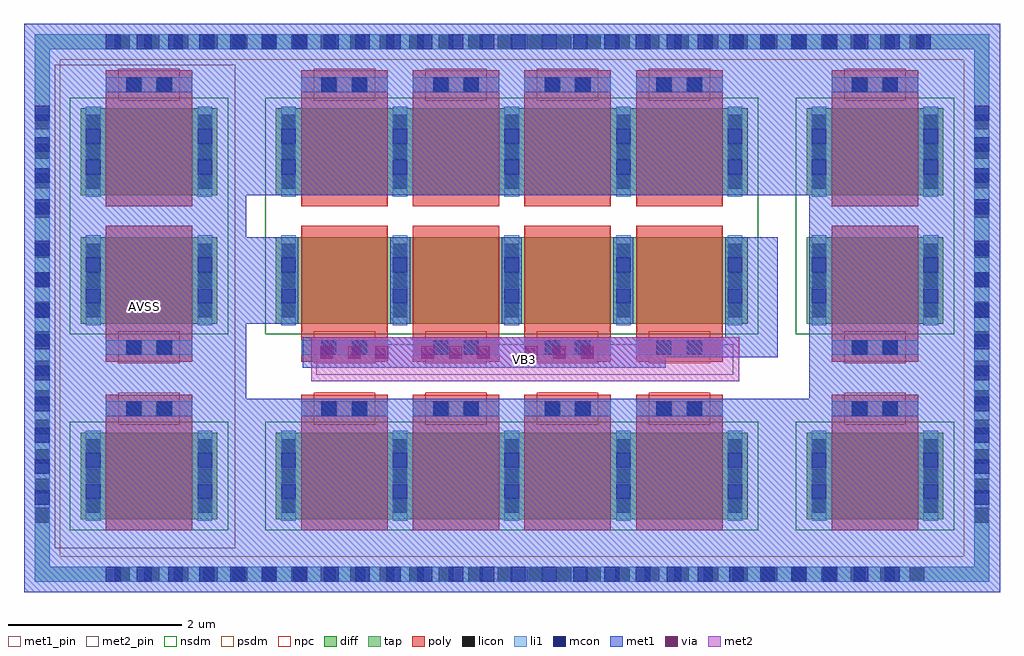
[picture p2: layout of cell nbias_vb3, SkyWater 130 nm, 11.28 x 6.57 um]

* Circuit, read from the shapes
.subckt nbias_vb3 AVSS VB3
XM1 AVSS AVSS AVSS AVSS sky130_fd_pr__nfet_01v8 w=1 l=1 m=14
XM2 n1 VB3 AVSS AVSS sky130_fd_pr__nfet_01v8 w=1 l=1
XM3 n2 VB3 n1 AVSS sky130_fd_pr__nfet_01v8 w=1 l=1
XM4 n3 VB3 n2 AVSS sky130_fd_pr__nfet_01v8 w=1 l=1
XM5 VB3 VB3 n3 AVSS sky130_fd_pr__nfet_01v8 w=1 l=1
.ends

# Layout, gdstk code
import gdstk
lib = gdstk.Library(unit=1e-6, precision=1e-09)
def R(c, l, rs):  # rectangles x0, y0, x1, y1
    for r in rs: c.add(gdstk.rectangle(r[:2], r[2:], *l))
def A(c, l, x, y, w, h, nx, ny, dx, dy):  # array of equal rectangles
    R(c, l, [(x+i*dx, y+j*dy, x+i*dx+w, y+j*dy+h) for i in range(nx) for j in range(ny)])
diff = (65, 20)
tap = (65, 44)
poly = (66, 20)
licon = (66, 44)
li1 = (67, 20)
mcon = (67, 44)
met1_pin = (68, 16)
met1 = (68, 20)
via = (68, 44)
met2_pin = (69, 16)
met2 = (69, 20)
nsdm = (93, 44)
psdm = (94, 20)
npc = (95, 20)

nbias_vb3 = lib.new_cell('nbias_vb3')
R(nbias_vb3, diff, [(5.9,-2.92,7.48,-1.92), (8.155,-2.92,13.605,-1.92), (14.285,-2.92,15.865,-1.92), (5.9,-0.66,7.48,0.34), (8.155,-0.66,13.605,0.34), (14.285,-0.66,15.865,0.34), (5.9,0.825,7.48,1.825), (8.155,0.825,13.605,1.825), (14.285,0.825,15.865,1.825)])
R(nbias_vb3, tap, [(5.37,-3.64,16.395,-3.47), (5.37,-3.47,5.54,2.51), (16.225,-3.47,16.395,2.51), (5.37,2.51,16.395,2.68)])
A(nbias_vb3, poly, 8.445, -3.05, 1, 1.57, 4, 2, 1.29, 1.95)
A(nbias_vb3, poly, 8.445, 0.695, 1, 1.57, 4, 1, 1.29, 0)
R(nbias_vb3, poly, [(6.19,-3.05,7.19,-1.48), (14.575,-3.05,15.575,-1.48), (6.19,-1.1,7.19,0.47), (14.575,-1.1,15.575,0.47), (6.19,0.695,7.19,2.265), (14.575,0.695,15.575,2.265)])
A(nbias_vb3, licon, 6.295, -3.64, 0.17, 0.17, 28, 2, 0.34, 6.15)
A(nbias_vb3, licon, 5.37, -2.96, 0.17, 0.17, 1, 10, 0, 0.34)
A(nbias_vb3, licon, 16.225, -2.96, 0.17, 0.17, 1, 10, 0, 0.34)
A(nbias_vb3, licon, 5.96, -2.845, 0.17, 0.17, 1, 3, 0, 0.34)
A(nbias_vb3, licon, 7.25, -2.845, 0.17, 0.17, 1, 3, 0, 0.34)
A(nbias_vb3, licon, 8.215, -2.845, 0.17, 0.17, 5, 3, 1.29, 0.34)
A(nbias_vb3, licon, 14.345, -2.845, 0.17, 0.17, 1, 3, 0, 0.34)
A(nbias_vb3, licon, 15.635, -2.845, 0.17, 0.17, 1, 3, 0, 0.34)
A(nbias_vb3, licon, 5.96, -0.585, 0.17, 0.17, 1, 3, 0, 0.34)
A(nbias_vb3, licon, 7.25, -0.585, 0.17, 0.17, 1, 3, 0, 0.34)
A(nbias_vb3, licon, 8.215, -0.585, 0.17, 0.17, 5, 3, 1.29, 0.34)
A(nbias_vb3, licon, 14.345, -0.585, 0.17, 0.17, 1, 3, 0, 0.34)
A(nbias_vb3, licon, 15.635, -0.585, 0.17, 0.17, 1, 3, 0, 0.34)
A(nbias_vb3, licon, 5.37, 0.565, 0.17, 0.17, 1, 4, 0, 0.34)
A(nbias_vb3, licon, 16.225, 0.565, 0.17, 0.17, 1, 4, 0, 0.34)
A(nbias_vb3, licon, 5.96, 0.9, 0.17, 0.17, 1, 3, 0, 0.34)
A(nbias_vb3, licon, 7.25, 0.9, 0.17, 0.17, 1, 3, 0, 0.34)
A(nbias_vb3, licon, 8.215, 0.9, 0.17, 0.17, 5, 3, 1.29, 0.34)
A(nbias_vb3, licon, 14.345, 0.9, 0.17, 0.17, 1, 3, 0, 0.34)
A(nbias_vb3, licon, 15.635, 0.9, 0.17, 0.17, 1, 3, 0, 0.34)
R(nbias_vb3, licon, [(6.435,-1.73,6.605,-1.56), (6.775,-1.73,6.945,-1.56), (8.69,-1.73,8.86,-1.56), (9.03,-1.73,9.2,-1.56), (9.98,-1.73,10.15,-1.56), (10.32,-1.73,10.49,-1.56), (11.27,-1.73,11.44,-1.56), (11.61,-1.73,11.78,-1.56), (12.56,-1.73,12.73,-1.56), (12.9,-1.73,13.07,-1.56), (14.82,-1.73,14.99,-1.56), (15.16,-1.73,15.33,-1.56), (6.435,-1.02,6.605,-0.85), (6.775,-1.02,6.945,-0.85), (8.69,-1.02,8.86,-0.85), (9.03,-1.02,9.2,-0.85), (9.98,-1.02,10.15,-0.85), (10.32,-1.02,10.49,-0.85), (11.27,-1.02,11.44,-0.85), (11.61,-1.02,11.78,-0.85), (12.56,-1.02,12.73,-0.85), (12.9,-1.02,13.07,-0.85), (14.82,-1.02,14.99,-0.85), (15.16,-1.02,15.33,-0.85), (6.435,2.015,6.605,2.185), (6.775,2.015,6.945,2.185), (8.69,2.015,8.86,2.185), (9.03,2.015,9.2,2.185), (9.98,2.015,10.15,2.185), (10.32,2.015,10.49,2.185), (11.27,2.015,11.44,2.185), (11.61,2.015,11.78,2.185), (12.56,2.015,12.73,2.185), (12.9,2.015,13.07,2.185), (14.82,2.015,14.99,2.185), (15.16,2.015,15.33,2.185)])
A(nbias_vb3, li1, 8.215, -2.94, 0.17, 1.04, 5, 2, 1.29, 2.26)
A(nbias_vb3, li1, 8.445, -1.73, 1, 0.17, 4, 2, 1.29, 0.71)
A(nbias_vb3, li1, 8.215, 0.805, 0.17, 1.04, 5, 1, 1.29, 0)
A(nbias_vb3, li1, 8.445, 2.015, 1, 0.17, 4, 1, 1.29, 0)
R(nbias_vb3, li1, [(5.37,-3.64,16.395,-3.47), (5.37,-3.47,5.54,2.51), (16.225,-3.47,16.395,2.51), (5.96,-2.94,6.13,-1.9), (7.25,-2.94,7.42,-1.9), (14.345,-2.94,14.515,-1.9), (15.635,-2.94,15.805,-1.9), (6.19,-1.73,7.19,-1.56), (14.575,-1.73,15.575,-1.56), (6.19,-1.02,7.19,-0.85), (14.575,-1.02,15.575,-0.85), (5.96,-0.68,6.13,0.36), (7.25,-0.68,7.42,0.36), (14.345,-0.68,14.515,0.36), (15.635,-0.68,15.805,0.36), (5.96,0.805,6.13,1.845), (7.25,0.805,7.42,1.845), (14.345,0.805,14.515,1.845), (15.635,0.805,15.805,1.845), (6.19,2.015,7.19,2.185), (14.575,2.015,15.575,2.185), (5.37,2.51,16.395,2.68)])
A(nbias_vb3, mcon, 6.19, -3.64, 0.17, 0.17, 26, 1, 0.36, 0)
A(nbias_vb3, mcon, 5.37, -2.755, 0.17, 0.17, 1, 9, 0, 0.36)
A(nbias_vb3, mcon, 16.225, -2.755, 0.17, 0.17, 1, 9, 0, 0.36)
A(nbias_vb3, mcon, 8.215, -2.685, 0.17, 0.17, 5, 2, 1.29, 0.36)
A(nbias_vb3, mcon, 8.215, -0.425, 0.17, 0.17, 5, 2, 1.29, 0.36)
A(nbias_vb3, mcon, 5.37, 0.605, 0.17, 0.17, 1, 4, 0, 0.36)
A(nbias_vb3, mcon, 16.225, 0.605, 0.17, 0.17, 1, 4, 0, 0.36)
A(nbias_vb3, mcon, 8.215, 1.06, 0.17, 0.17, 5, 2, 1.29, 0.36)
A(nbias_vb3, mcon, 6.19, 2.51, 0.17, 0.17, 27, 1, 0.36, 0)
R(nbias_vb3, mcon, [(5.96,-2.685,6.13,-2.515), (7.25,-2.685,7.42,-2.515), (14.345,-2.685,14.515,-2.515), (15.635,-2.685,15.805,-2.515), (5.96,-2.325,6.13,-2.155), (7.25,-2.325,7.42,-2.155), (14.345,-2.325,14.515,-2.155), (15.635,-2.325,15.805,-2.155), (6.425,-1.73,6.595,-1.56), (6.785,-1.73,6.955,-1.56), (8.68,-1.73,8.85,-1.56), (9.04,-1.73,9.21,-1.56), (9.97,-1.73,10.14,-1.56), (10.33,-1.73,10.5,-1.56), (11.26,-1.73,11.43,-1.56), (11.62,-1.73,11.79,-1.56), (12.55,-1.73,12.72,-1.56), (12.91,-1.73,13.08,-1.56), (14.81,-1.73,14.98,-1.56), (15.17,-1.73,15.34,-1.56), (6.425,-1.02,6.595,-0.85), (6.785,-1.02,6.955,-0.85), (8.68,-1.02,8.85,-0.85), (9.04,-1.02,9.21,-0.85), (9.97,-1.02,10.14,-0.85), (10.33,-1.02,10.5,-0.85), (11.26,-1.02,11.43,-0.85), (11.62,-1.02,11.79,-0.85), (12.55,-1.02,12.72,-0.85), (12.91,-1.02,13.08,-0.85), (14.81,-1.02,14.98,-0.85), (15.17,-1.02,15.34,-0.85), (5.96,-0.425,6.13,-0.255), (7.25,-0.425,7.42,-0.255), (14.345,-0.425,14.515,-0.255), (15.635,-0.425,15.805,-0.255), (5.96,-0.065,6.13,0.105), (7.25,-0.065,7.42,0.105), (14.345,-0.065,14.515,0.105), (15.635,-0.065,15.805,0.105), (5.96,1.06,6.13,1.23), (7.25,1.06,7.42,1.23), (14.345,1.06,14.515,1.23), (15.635,1.06,15.805,1.23), (5.96,1.42,6.13,1.59), (7.25,1.42,7.42,1.59), (14.345,1.42,14.515,1.59), (15.635,1.42,15.805,1.59), (6.425,2.015,6.595,2.185), (6.785,2.015,6.955,2.185), (8.68,2.015,8.85,2.185), (9.04,2.015,9.21,2.185), (9.97,2.015,10.14,2.185), (10.33,2.015,10.5,2.185), (11.26,2.015,11.43,2.185), (11.62,2.015,11.79,2.185), (12.55,2.015,12.72,2.185), (12.91,2.015,13.08,2.185), (14.81,2.015,14.98,2.185), (15.17,2.015,15.34,2.185)])
R(nbias_vb3, met1_pin, [(5.6,-3.255,7.685,2.33)])
A(nbias_vb3, met1, 9.475, -0.66, 0.23, 1, 3, 1, 1.29, 0)
R(nbias_vb3, met1, [(5.245,-3.765,16.52,-1.53), (5.245,-1.53,7.815,-0.66), (14.315,-1.53,16.52,0.825), (8.465,-1.17,12.66,-1.05), (8.465,-1.05,13.95,-0.82), (13.345,-0.82,13.95,0.34), (5.245,-0.66,8.415,0.34), (5.245,0.34,7.815,0.825), (5.245,0.825,16.52,2.805)])
A(nbias_vb3, via, 8.665, -1.065, 0.15, 0.15, 3, 1, 0.32, 0)
A(nbias_vb3, via, 9.835, -1.065, 0.15, 0.15, 3, 1, 0.32, 0)
A(nbias_vb3, via, 11.035, -1.065, 0.15, 0.15, 3, 1, 0.32, 0)
R(nbias_vb3, met2_pin, [(8.62,-1.25,13.44,-0.9)])
R(nbias_vb3, met2, [(8.565,-1.325,13.51,-0.82)])
R(nbias_vb3, nsdm, [(5.775,-3.045,7.605,-1.795), (8.03,-3.045,13.73,-1.795), (14.16,-3.045,15.99,-1.795), (5.775,-0.785,7.605,1.95), (8.03,-0.785,13.73,1.95), (14.16,-0.785,15.99,1.95)])
R(nbias_vb3, psdm, [(5.245,-3.765,16.52,-3.345), (5.245,-3.345,5.665,2.385), (16.1,-3.345,16.52,2.385), (5.245,2.385,16.52,2.805)])
A(nbias_vb3, npc, 8.59, -1.83, 0.71, 0.37, 4, 2, 1.29, 0.71)
A(nbias_vb3, npc, 8.59, 1.915, 0.71, 0.37, 4, 1, 1.29, 0)
R(nbias_vb3, npc, [(6.335,-1.83,7.045,-1.46), (14.72,-1.83,15.43,-1.46), (6.335,-1.12,7.045,-0.75), (14.72,-1.12,15.43,-0.75), (6.335,1.915,7.045,2.285), (14.72,1.915,15.43,2.285)])
nbias_vb3.add(gdstk.Label('AVSS', (6.642,-0.462), layer=68, texttype=5))
nbias_vb3.add(gdstk.Label('VB3', (11.03,-1.075), layer=69, texttype=5))

lib.write_gds('nbias_vb3.gds')
